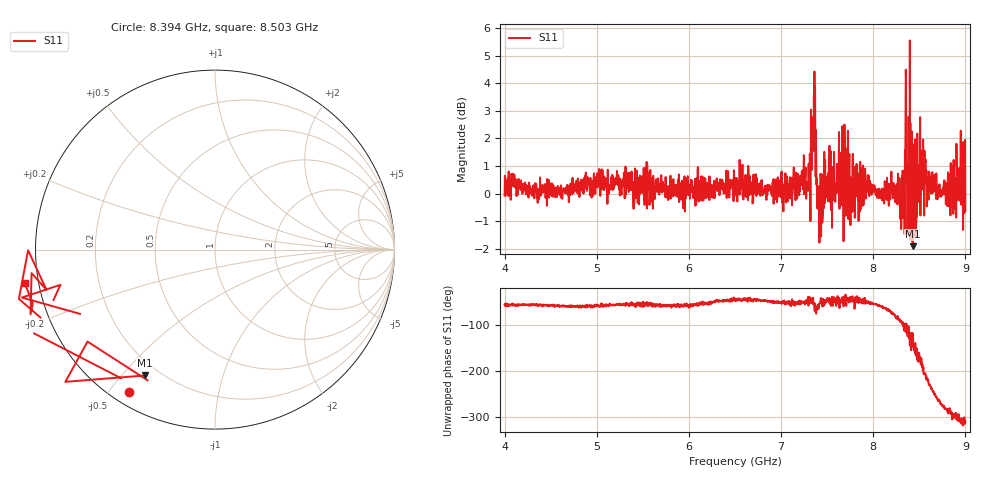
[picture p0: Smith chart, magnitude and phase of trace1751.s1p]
! Created with skrf 1.8.0 (http://scikit-rf.org).
# Hz S RI R 50.0
!freq ReS11 ImS11
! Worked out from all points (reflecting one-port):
!   1601 points, 4 GHz to 9 GHz, reference 50 ohm
!   lowest |S11| = -1.9 dB at 8.431 GHz (marker M1), VSWR 9.15, Z = 7.32 - j28.9 ohm
!   phase of S11 starts at -56 deg and turns -254 deg over the sweep
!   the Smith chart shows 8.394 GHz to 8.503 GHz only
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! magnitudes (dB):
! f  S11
! 4 GHz  -0.1
! 4.1 GHz  0.4
! 4.625 GHz  -0.2
! 5.25 GHz  -0.1
! 5.875 GHz  0.0
! 6.5 GHz  0.4
! 7.125 GHz  0.0
! 7.294 GHz  0.1
! 7.347 GHz  1.8
! 7.366 GHz  2.4
! 7.397 GHz  -0.6
! 7.412 GHz  -0.5
! 7.512 GHz  0.7
! 7.609 GHz  0.3
! 7.65 GHz  1.0
! 7.75 GHz  -0.1
! 8.259 GHz  0.3
! 8.316 GHz  -0.2
! 8.334 GHz  0.8
! 8.375 GHz  0.4
! 8.431 GHz  -1.9
! 8.447 GHz  1.3
! 8.459 GHz  -1.6
! 8.553 GHz  -0.8
! 8.606 GHz  0.1
! 8.875 GHz  0.5
! 8.972 GHz  -0.3
! 9 GHz  -0.6
